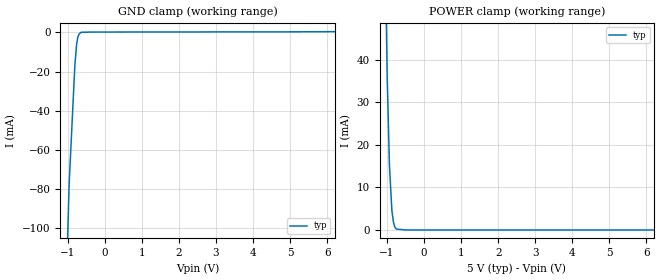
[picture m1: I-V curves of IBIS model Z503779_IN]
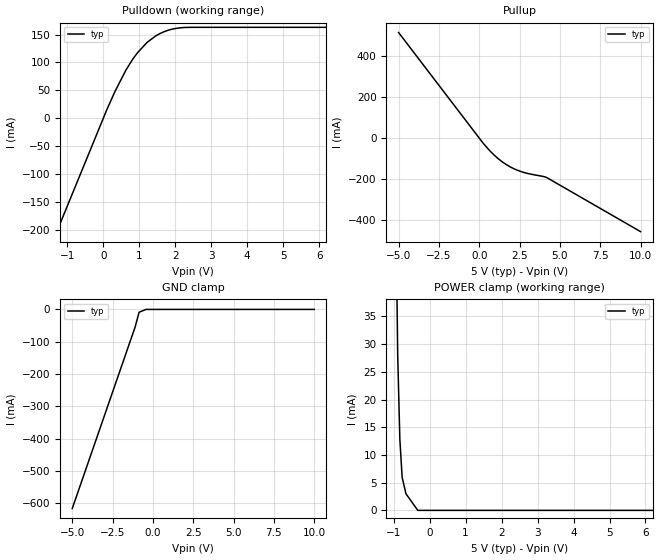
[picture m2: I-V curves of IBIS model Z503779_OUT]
| YOU ARE ONLY AUTHORIZED TO USE THIS SOFTWARE
| ACCORDING TO LICENSOR'S LICENSE RESTRICTIONS.
[IBIS Ver] 3.1
[File Name] mc74ac32n_5.ibs
[File Rev] 2.0
[Source] Measured and created by ICX Technology
[Date] Friday 7/14/00 9:07:59 AM
[Copyright]
| (C) COPYRIGHT 1993-2000
| MENTOR GRAPHICS CORPORATION
| ICX STANDARD LIBRARY, ICX PROJECT MODELING,
| ICX CUSTOM MODELING, ICX VENDOR MODEL
| ALL RIGHTS RESERVED.
| THE FOLLOWING ARE TRADEMARKS OR SERVICE MARKS OF
| MENTOR GRAPHICS CORPORATION:ICX (R), ICX STANDARD
| LIBRARY(R), ICX PROJECT MODELING(R), ICX CUSTOM
| MODELING(R), qualityIBIS(TM), MODELVIEWER(TM),
| AND MODELEDITOR(TM)
| ALL COPIES OF SOFTWARE, INCLUDING BUT NOT LIMITED TO
| ANY MODIFICATIONS, ENHANCEMENTS OR DERIVATIVE WORKS,
| MUST CONTAIN ALL MENTOR GRAPHICS CORPORATION'S
| NOTICES AND LEGENDS, INCLUDING THOSE EMBEDDED IN
| SOFTWARE AND THOSE AFFIXED TO SOFTWARE MEDIUM
| AND CONTAINER, AS RECEIVED FROM MENTOR GRAPHICS
| CORPORATION.
|  ZAP Model Builder 2.7
[Component] MC74AC32N_5
[Manufacturer] OnSemiconductor
[Package]
| variable   typ   min   max
R_pkg  .21ohms NA NA
L_pkg  4.543nH NA NA
C_pkg  1.059pF NA NA
[Pin] signal_name  model_name  R_pin  L_pin C_pin
1 A Z503779_IN .22 6.757n 1.432p
2 B Z503779_IN .212 4.757n 1.142p
3 Y Z503779_OUT .204 3.257n .852p
4 A Z503779_IN .196 2.257n .562p
5 B Z503779_IN .204 3.257n .852p
6 Y Z503779_OUT .212 4.757n 1.142p
7 GND GND .22 6.757n 1.432p
8 Y Z503779_OUT .22 6.757n 1.432p
9 A Z503779_IN .212 4.757n 1.142p
10 B Z503779_IN .204 3.257n .852p
11 Y Z503779_OUT .196 2.257n .562p
12 A Z503779_IN .204 3.257n .852p
13 B Z503779_IN .212 4.757n 1.142p
14 VCC POWER .22 6.757n 1.432p
| Models and submodels in the file (2): Z503779_IN (Input), Z503779_OUT (Output)
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| (C) COPYRIGHT 1993-2000
| MENTOR GRAPHICS CORPORATION
| ICX STANDARD LIBRARY, ICX PROJECT MODELING,
| ICX CUSTOM MODELING, ICX VENDOR MODEL
| ALL RIGHTS RESERVED.
| THE FOLLOWING ARE TRADEMARKS OR SERVICE MARKS OF
| MENTOR GRAPHICS CORPORATION:ICX (R), ICX STANDARD
| LIBRARY(R), ICX PROJECT MODELING(R), ICX CUSTOM
| MODELING(R), qualityIBIS(TM), MODELVIEWER(TM),
| AND MODELEDITOR(TM)
| ALL COPIES OF SOFTWARE, INCLUDING BUT NOT LIMITED TO
| ANY MODIFICATIONS, ENHANCEMENTS OR DERIVATIVE WORKS,
| MUST CONTAIN ALL MENTOR GRAPHICS CORPORATION'S
| NOTICES AND LEGENDS, INCLUDING THOSE EMBEDDED IN
| SOFTWARE AND THOSE AFFIXED TO SOFTWARE MEDIUM
| AND CONTAINER, AS RECEIVED FROM MENTOR GRAPHICS
| CORPORATION.
| Model Application Version 1.89 2/18/99.
[Model] Z503779_IN
Model_type Input
Vinl = 1.500V
Vinh = 3.500V
C_comp 4.000pF NA NA
| variable typ   min   max
[Voltage Range] 5.000V NA NA
[GND Clamp Reference] 0.000V NA NA
[POWER Clamp Reference] 5.000V NA NA
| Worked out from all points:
|   GND clamp passes 1 mA (typ) near -0.70 V on its own axis
|   POWER clamp passes 1 mA (typ) near -0.80 V on its own axis
[GND Clamp]
-5V       -2.783A    NA         NA
-965.8mV  -77.52mA   NA         NA
-810.5mV  -16.62mA   NA         NA
-764.6mV  -6.165mA   NA         NA
-729.7mV  -2.269mA   NA         NA
-687.2mV  -591.6uA   NA         NA
-648.5mV  -37.05uA   NA         NA
10V       704uA      NA         NA
[POWER Clamp]
-5V       3.416A     NA         NA
-1.25V    208.1mA    NA         NA
-1.107V   99.33mA    NA         NA
-996mV    35.99mA    NA         NA
-936mV    15.33mA    NA         NA
-869mV    4.513mA    NA         NA
-831mV    2.021mA    NA         NA
-794mV    766.7uA    NA         NA
-752mV    223.8uA    NA         NA
-501.3mV  0A         NA         NA
10V       0A         NA         NA
| (C) COPYRIGHT 1993-2000
| MENTOR GRAPHICS CORPORATION
| ICX STANDARD LIBRARY, ICX PROJECT MODELING,
| ICX CUSTOM MODELING, ICX VENDOR MODEL
| ALL RIGHTS RESERVED.
| THE FOLLOWING ARE TRADEMARKS OR SERVICE MARKS OF
| MENTOR GRAPHICS CORPORATION:ICX (R), ICX STANDARD
| LIBRARY(R), ICX PROJECT MODELING(R), ICX CUSTOM
| MODELING(R), qualityIBIS(TM), MODELVIEWER(TM),
| AND MODELEDITOR(TM)
| ALL COPIES OF SOFTWARE, INCLUDING BUT NOT LIMITED TO
| ANY MODIFICATIONS, ENHANCEMENTS OR DERIVATIVE WORKS,
| MUST CONTAIN ALL MENTOR GRAPHICS CORPORATION'S
| NOTICES AND LEGENDS, INCLUDING THOSE EMBEDDED IN
| SOFTWARE AND THOSE AFFIXED TO SOFTWARE MEDIUM
| AND CONTAINER, AS RECEIVED FROM MENTOR GRAPHICS
| CORPORATION.
| Model Application Version 1.89 2/18/99.
[Model] Z503779_OUT
Model_type Output
Vref=0.000V
Rref=500.0ohms
Cref=50.00pF
Vmeas=2.500V
C_comp 8.000pF NA NA
| variable typ   min   max
[Voltage Range] 5.000V NA NA
[POWER Clamp Reference] 5.000V NA NA
[Pullup Reference] 5.000V NA NA
[Pulldown Reference] 0.000V NA NA
[GND Clamp Reference] 0.000V NA NA
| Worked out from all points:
|   slope of the pulldown table from 0 to 0.75 V, typ, clamps not added: 7.61 ohm
|   slope of the pullup table from 0 to 0.75 V, typ, clamps not added: 10.8 ohm
[GND Clamp]
-5V       -616.4mA   NA         NA
-1.102V   -54.28mA   NA         NA
-855.8mV  -8.703mA   NA         NA
-427.9mV  0A         NA         NA
10V       0A         NA         NA
[Pulldown]
-5V       -784mA     NA         NA
90.03mV   14.48mA    NA         NA
318.1mV   47.4mA     NA         NA
631.1mV   86.81mA    NA         NA
827.9mV   106.9mA    NA         NA
957.6mV   118mA      NA         NA
1.216V    135.9mA    NA         NA
1.466V    147.9mA    NA         NA
1.698V    155.3mA    NA         NA
1.989V    160.6mA    NA         NA
2.404V    162.9mA    NA         NA
10V       162.9mA    NA         NA
[Pullup]
-5V       513.8mA    NA         NA
233mV     -26.13mA   NA         NA
615mV     -60.58mA   NA         NA
1.187V    -103.4mA   NA         NA
1.679V    -131.5mA   NA         NA
2.385V    -159.7mA   NA         NA
3.008V    -174.9mA   NA         NA
4.169V    -194.2mA   NA         NA
10V       -459mA     NA         NA
[POWER Clamp]
-5V       3.164A     NA         NA
-1.007V   91.08mA    NA         NA
-889mV    28.16mA    NA         NA
-829mV    12.83mA    NA         NA
-765mV    5.964mA    NA         NA
-659mV    2.991mA    NA         NA
-329.5mV  0A         NA         NA
10V       0A         NA         NA
[Ramp]
| variable typ min max
dV/dt_r 2.956/486.9p NA NA
dV/dt_f 2.956/721.6p NA NA
R_load = 500.0Ohms
